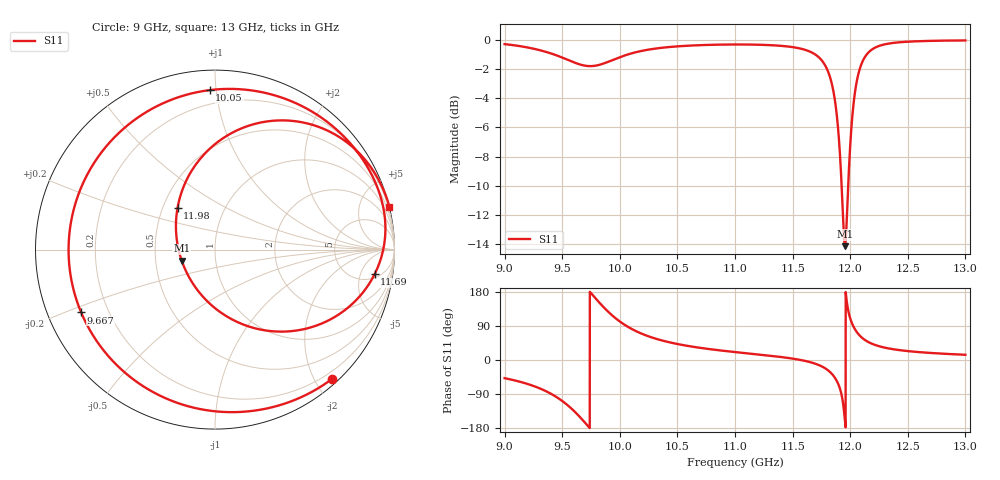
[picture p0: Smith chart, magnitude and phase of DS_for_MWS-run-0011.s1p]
! TOUCHSTONE file generated by CST DESIGN STUDIO
! Date and time: Tue Feb  4 13:43:07 2025
! Project name: C:\Work\MatlabApps\UnitCellOptimizationMatlab\CST\unitcell.cst
! Tree item: Tasks\Sweep1\SPara1\S-Parameters
! Header version: 2024
! Port assignment regex: !\s*Touchstone port\s*([0-9]+)\s*=\s*(CST MWS port|CST DES external port|CST DES block port)\s*(.+)\s* \(\"(.*)\"\)(\s*mode\s*([0-9]+))?.*
! Touchstone port assignment:
! Touchstone port 1 = CST DES external port 1 ("")
# GHz S MA R 50
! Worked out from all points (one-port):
!   4001 points, 9 GHz to 13 GHz, reference 50 ohm
!   lowest |S11| = -14.2 dB at 11.96 GHz (marker M1), VSWR 1.49, Z = 34.1 - j4.35 ohm
!   |S11| at or under -10 dB: 11.92555 GHz to 11.98262 GHz (57.07 MHz wide, 0.477 % of centre)
!   S11 on the Smith chart (normalised r, x): 9 GHz: 0.09, -2.25; 9.667 GHz: 0.10, -0.22; 10.05 GHz: 0.11, +0.96; 11.69 GHz: 6, -9; 11.98 GHz: 0.60, +0.31; 13 GHz: -0.01, +8.29
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9  0.9714 -47.9
9.27  0.9332 -70.7
9.5  0.8732 -108.1
9.584  0.846 -129.3
9.667  0.8238 -154.8
9.736  0.8159 -178.6
9.804  0.8209 157.6
9.902  0.8452 126.5
10  0.8757 101.6
10.047  0.8891 91.9
10.248  0.9299 62.6
10.5  0.9544 42.2
11  0.9688 20.9
11.5  0.9487 3.7
11.687  0.8998 -8.8
11.8  0.795 -25.4
11.878  0.5783 -52.2
11.917  0.3692 -81.6
11.955  0.1954 -161.7
11.982  0.3121 132.0
12  0.4339 110.0
12.031  0.6148 86.8
12.064  0.746 71.0
12.116  0.8608 55.4
12.176  0.9227 44.6
12.3  0.9699 32.6
12.5  0.9903 23.5
13  1 13.8
